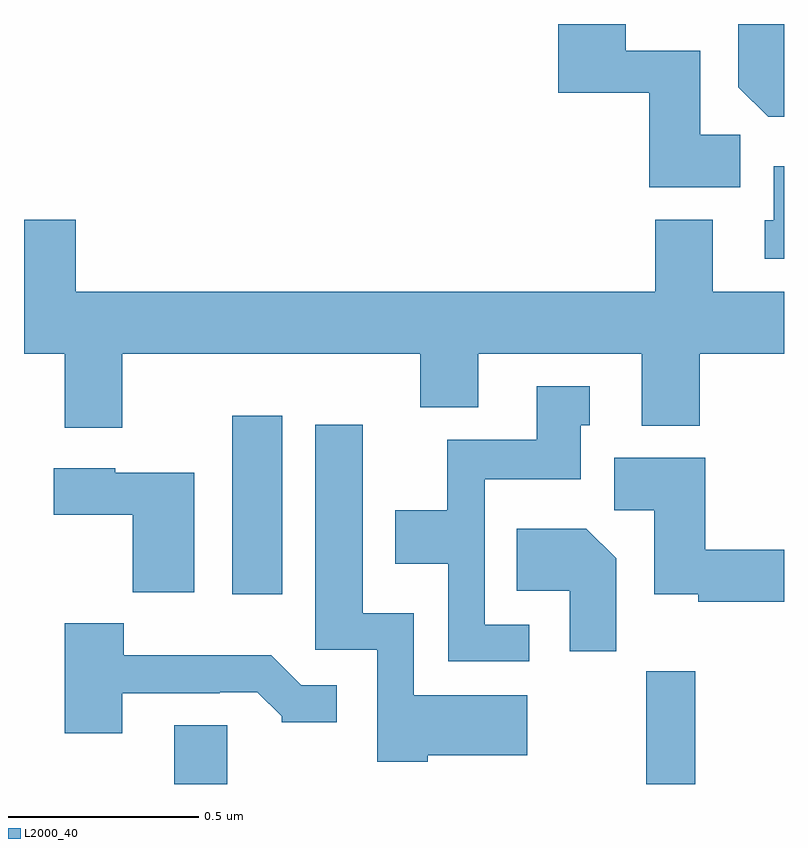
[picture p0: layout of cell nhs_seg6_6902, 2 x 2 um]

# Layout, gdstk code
import gdstk
lib = gdstk.Library(unit=1e-6, precision=1e-09)
def R(c, l, rs):  # rectangles x0, y0, x1, y1
    for r in rs: c.add(gdstk.rectangle(r[:2], r[2:], *l))
def P(c, l, *ps):  # polygons
    for p in ps: c.add(gdstk.Polygon(p, *l))
L2000_40 = (2000, 40)

nhs_seg6_6902 = lib.new_cell('nhs_seg6_6902')
R(nhs_seg6_6902, L2000_40, [(201.395,983.5,201.535,983.654), (202.638,983.5,202.766,983.797), (201.548,984,201.679,984.469)])
P(nhs_seg6_6902, L2000_40, [(203,985.5),(202.88,985.5),(202.88,985.334),(202.958,985.256),(203,985.256)],
  [(202.885,985.208),(202.78,985.208),(202.78,985.429),(202.584,985.429),(202.584,985.5),(202.406,985.5),(202.406,985.319),(202.646,985.319),(202.646,985.07),(202.885,985.07)],
  [(203,985.126),(202.973,985.126),(202.973,984.984),(202.949,984.984),(202.949,984.882),(203,984.882)],
  [(201.259,984.632),(202.043,984.632),(202.043,984.491),(202.195,984.491),(202.195,984.632),(202.625,984.632),(202.625,984.443),(202.778,984.443),(202.778,984.632),(203,984.632),(203,984.796),(202.813,984.796),(202.813,984.985),(202.661,984.985),(202.661,984.796),(201.136,984.796),(201.136,984.985),(201,984.985),(201,984.632),(201.107,984.632),(201.107,984.438),(201.259,984.438)],
  [(202.33,983.919),(202.212,983.919),(202.212,984.302),(202.465,984.302),(202.465,984.444),(202.489,984.444),(202.489,984.547),(202.349,984.547),(202.349,984.406),(202.114,984.406),(202.114,984.22),(201.977,984.22),(201.977,984.08),(202.116,984.08),(202.116,983.823),(202.33,983.823)],
  [(202.062,983.576),(202.324,983.576),(202.324,983.734),(202.026,983.734),(202.026,983.95),(201.892,983.95),(201.892,984.445),(201.767,984.445),(201.767,983.853),(201.93,983.853),(201.93,983.558),(202.062,983.558)],
  [(203,984.116),(202.793,984.116),(202.793,984.358),(202.553,984.358),(202.553,984.22),(202.658,984.22),(202.658,983.999),(202.774,983.999),(202.774,983.98),(203,983.98)],
  [(201.448,984.319),(201.24,984.319),(201.24,984.331),(201.078,984.331),(201.078,984.209),(201.286,984.209),(201.286,984.005),(201.448,984.005)],
  [(202.558,984.094),(202.48,984.172),(202.297,984.172),(202.297,984.008),(202.436,984.008),(202.436,983.85),(202.558,983.85)],
  [(201.259,983.739),(201.515,983.739),(201.515,983.742),(201.614,983.742),(201.678,983.678),(201.678,983.663),(201.823,983.663),(201.823,983.76),(201.729,983.76),(201.651,983.839),(201.262,983.839),(201.262,983.923),(201.107,983.923),(201.107,983.634),(201.259,983.634)])

lib.write_gds('nhs_seg6_6902.gds')
